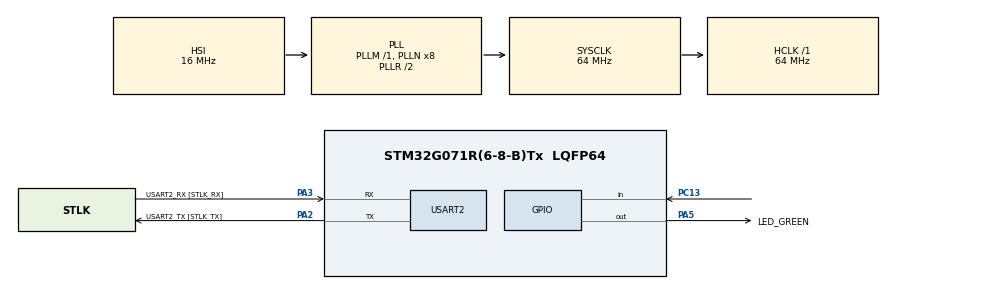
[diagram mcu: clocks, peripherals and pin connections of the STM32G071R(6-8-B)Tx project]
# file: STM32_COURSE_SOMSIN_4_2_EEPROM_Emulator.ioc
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Mcu.Family=STM32G0
Mcu.Name=STM32G071R(6-8-B)Tx
Mcu.Package=LQFP64
PA13.GPIO_Label=TMS
PA13.Mode=Serial_Wire
PA13.Signal=SYS_SWDIO
PA14-BOOT0.GPIO_Label=TCK
PA14-BOOT0.Mode=Serial_Wire
PA14-BOOT0.Signal=SYS_SWCLK
PA2.GPIO_Label=USART2_TX [STLK_TX]
PA2.GPIO_PuPd=GPIO_PULLUP
PA2.Mode=Asynchronous
PA2.Signal=USART2_TX
PA3.GPIO_Label=USART2_RX [STLK_RX]
PA3.GPIO_PuPd=GPIO_PULLUP
PA3.Mode=Asynchronous
PA3.Signal=USART2_RX
PA5.GPIO_Label=LED_GREEN
PA5.GPIO_Speed=GPIO_SPEED_FREQ_HIGH
PA5.Signal=GPIO_Output
PC13.Signal=GPIO_Input
PC14-OSC32_IN\ (PC14).Mode=LSE-External-Oscillator
PC14-OSC32_IN\ (PC14).Signal=RCC_OSC32_IN
PC15-OSC32_OUT\ (PC15).Mode=LSE-External-Oscillator
PC15-OSC32_OUT\ (PC15).Signal=RCC_OSC32_OUT
PF0-OSC_IN\ (PF0).GPIO_Label=MCO
PF0-OSC_IN\ (PF0).Mode=HSE-External-Clock-Source
PF0-OSC_IN\ (PF0).Signal=RCC_OSC_IN
ProjectManager.HeapSize=0x200
ProjectManager.StackSize=0x400
ProjectManager.TargetToolchain=STM32CubeIDE
RCC.ADCFreq_Value=64000000
RCC.AHBFreq_Value=64000000
RCC.CortexFreq_Value=64000000
RCC.EXTERNAL_CLOCK_VALUE=12288000
RCC.HCLKFreq_Value=64000000
RCC.HSE_VALUE=8000000
RCC.HSI_VALUE=16000000
RCC.SYSCLKFreq_VALUE=64000000
RCC.SYSCLKSource=RCC_SYSCLKSOURCE_PLLCLK
RCC.VCOOutputFreq_Value=128000000
USART2.VirtualMode-Asynchronous=VM_ASYNC
VP_CRC_VS_CRC.Mode=CRC_Activate
VP_SYS_VS_DBSignals.Mode=DisableDeadBatterySignals
board=NUCLEO-G071RB

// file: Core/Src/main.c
/* USER CODE BEGIN Header */
/**
  ******************************************************************************
  * @file           : main.c
  * @brief          : Main program body
  ******************************************************************************
  * @attention
  *
  * Copyright (c) 2024 STMicroelectronics.
  * All rights reserved.
  *
  * This software is licensed under terms that can be found in the LICENSE file
  * in the root directory of this software component.
  * If no LICENSE file comes with this software, it is provided AS-IS.
  *
  ******************************************************************************
  */
/* USER CODE END Header */
#include "main.h"

/* USER CODE BEGIN Includes */
#include "eeprom_emul.h"
/* USER CODE END Includes */

CRC_HandleTypeDef hcrc;

UART_HandleTypeDef huart2;

void SystemClock_Config(void);
static void MX_GPIO_Init(void);
static void MX_USART2_UART_Init(void);
static void MX_CRC_Init(void);

int main(void)
{

  /* MCU Configuration--------------------------------------------------------*/

  /* Reset of all peripherals, Initializes the Flash interface and the Systick. */
  HAL_Init();

  /* Configure the system clock */
  SystemClock_Config();

  /* Initialize all configured peripherals */
  MX_GPIO_Init();
  MX_USART2_UART_Init();
  MX_CRC_Init();
  /* USER CODE BEGIN 2 */

  HAL_FLASH_Unlock();
  /* EEPROM Init */
  HAL_Delay(2000);
  EE_Init(EE_FORCED_ERASE);

  unsigned char string_buffer[50];
  int string_buffer_size = -1;

  HAL_UART_Transmit(&huart2, (uint8_t *)"haruhi\r\n", 8, 1000);

  if(HAL_GPIO_ReadPin(GPIOC,GPIO_PIN_13) == 0){ // If User Button is Pressed the Write EEPROM
	  char write_word[20] = "hatsune miku\r\nr";
	  //char write_word[20] = "Asahina Mikuru\r\nr";
	  //char write_word[20] = "Nagato Yuki\r\nrr";
	  //char write_word[20] = "Itsuki Koizumi\r\n";
	  for(int i=0;i<15;i++){
		  EE_WriteVariable8bits(20 + i, write_word[i]);
	  }
  }

  /* USER CODE END 2 */

  /* Infinite loop */
  /* USER CODE BEGIN WHILE */
  while (1)
  {
	// read data from eeprom
	EE_ReadVariable8bits(20, &string_buffer[0]);
	EE_ReadVariable8bits(21, &string_buffer[1]);
	EE_ReadVariable8bits(22, &string_buffer[2]);
	EE_ReadVariable8bits(23, &string_buffer[3]);
	EE_ReadVariable8bits(24, &string_buffer[4]);
	EE_ReadVariable8bits(25, &string_buffer[5]);
	EE_ReadVariable8bits(26, &string_buffer[6]);

	//string_buffer_size = sprintf(string_buffer,"%s",string_buffer);
	string_buffer_size = sprintf(string_buffer,"%c%c%c%c%c%c%c%c\r\n",string_buffer[0],string_buffer[1],string_buffer[2],string_buffer[3],string_buffer[4],string_buffer[5],string_buffer[6]);
	HAL_UART_Transmit(&huart2, string_buffer, string_buffer_size, 1000);

	HAL_Delay (1000);
    /* USER CODE END WHILE */

  }
}

void SystemClock_Config(void)
{
  RCC_OscInitTypeDef RCC_OscInitStruct = {0};
  RCC_ClkInitTypeDef RCC_ClkInitStruct = {0};

  /** Configure the main internal regulator output voltage
  */
  HAL_PWREx_ControlVoltageScaling(PWR_REGULATOR_VOLTAGE_SCALE1);

  /** Initializes the RCC Oscillators according to the specified parameters
  * in the RCC_OscInitTypeDef structure.
  */
  RCC_OscInitStruct.OscillatorType = RCC_OSCILLATORTYPE_HSI;
  RCC_OscInitStruct.HSIState = RCC_HSI_ON;
  RCC_OscInitStruct.HSIDiv = RCC_HSI_DIV1;
  RCC_OscInitStruct.HSICalibrationValue = RCC_HSICALIBRATION_DEFAULT;
  RCC_OscInitStruct.PLL.PLLState = RCC_PLL_ON;
  RCC_OscInitStruct.PLL.PLLSource = RCC_PLLSOURCE_HSI;
  RCC_OscInitStruct.PLL.PLLM = RCC_PLLM_DIV1;
  RCC_OscInitStruct.PLL.PLLN = 8;
  RCC_OscInitStruct.PLL.PLLP = RCC_PLLP_DIV2;
  RCC_OscInitStruct.PLL.PLLQ = RCC_PLLQ_DIV2;
  RCC_OscInitStruct.PLL.PLLR = RCC_PLLR_DIV2;
  if (HAL_RCC_OscConfig(&RCC_OscInitStruct) != HAL_OK)
  {
    Error_Handler();
  }

  /** Initializes the CPU, AHB and APB buses clocks
  */
  RCC_ClkInitStruct.ClockType = RCC_CLOCKTYPE_HCLK|RCC_CLOCKTYPE_SYSCLK
                              |RCC_CLOCKTYPE_PCLK1;
  RCC_ClkInitStruct.SYSCLKSource = RCC_SYSCLKSOURCE_PLLCLK;
  RCC_ClkInitStruct.AHBCLKDivider = RCC_SYSCLK_DIV1;
  RCC_ClkInitStruct.APB1CLKDivider = RCC_HCLK_DIV1;

  if (HAL_RCC_ClockConfig(&RCC_ClkInitStruct, FLASH_LATENCY_2) != HAL_OK)
  {
    Error_Handler();
  }
}

static void MX_CRC_Init(void)
{

  hcrc.Instance = CRC;
  hcrc.Init.DefaultPolynomialUse = DEFAULT_POLYNOMIAL_ENABLE;
  hcrc.Init.DefaultInitValueUse = DEFAULT_INIT_VALUE_ENABLE;
  hcrc.Init.InputDataInversionMode = CRC_INPUTDATA_INVERSION_NONE;
  hcrc.Init.OutputDataInversionMode = CRC_OUTPUTDATA_INVERSION_DISABLE;
  hcrc.InputDataFormat = CRC_INPUTDATA_FORMAT_BYTES;
  if (HAL_CRC_Init(&hcrc) != HAL_OK)
  {
    Error_Handler();
  }

}

static void MX_USART2_UART_Init(void)
{

  huart2.Instance = USART2;
  huart2.Init.BaudRate = 115200;
  huart2.Init.WordLength = UART_WORDLENGTH_8B;
  huart2.Init.StopBits = UART_STOPBITS_1;
  huart2.Init.Parity = UART_PARITY_NONE;
  huart2.Init.Mode = UART_MODE_TX_RX;
  huart2.Init.HwFlowCtl = UART_HWCONTROL_NONE;
  huart2.Init.OverSampling = UART_OVERSAMPLING_16;
  huart2.Init.OneBitSampling = UART_ONE_BIT_SAMPLE_DISABLE;
  huart2.Init.ClockPrescaler = UART_PRESCALER_DIV1;
  huart2.AdvancedInit.AdvFeatureInit = UART_ADVFEATURE_NO_INIT;
  if (HAL_UART_Init(&huart2) != HAL_OK)
  {
    Error_Handler();
  }
  if (HAL_UARTEx_SetTxFifoThreshold(&huart2, UART_TXFIFO_THRESHOLD_1_8) != HAL_OK)
  {
    Error_Handler();
  }
  if (HAL_UARTEx_SetRxFifoThreshold(&huart2, UART_RXFIFO_THRESHOLD_1_8) != HAL_OK)
  {
    Error_Handler();
  }
  if (HAL_UARTEx_DisableFifoMode(&huart2) != HAL_OK)
  {
    Error_Handler();
  }

}

static void MX_GPIO_Init(void)
{
  GPIO_InitTypeDef GPIO_InitStruct = {0};

  /* GPIO Ports Clock Enable */
  __HAL_RCC_GPIOC_CLK_ENABLE();
  __HAL_RCC_GPIOF_CLK_ENABLE();
  __HAL_RCC_GPIOA_CLK_ENABLE();

  /*Configure GPIO pin Output Level */
  HAL_GPIO_WritePin(LED_GREEN_GPIO_Port, LED_GREEN_Pin, GPIO_PIN_RESET);

  /*Configure GPIO pin : PC13 */
  GPIO_InitStruct.Pin = GPIO_PIN_13;
  GPIO_InitStruct.Mode = GPIO_MODE_INPUT;
  GPIO_InitStruct.Pull = GPIO_NOPULL;
  HAL_GPIO_Init(GPIOC, &GPIO_InitStruct);

  /*Configure GPIO pin : LED_GREEN_Pin */
  GPIO_InitStruct.Pin = LED_GREEN_Pin;
  GPIO_InitStruct.Mode = GPIO_MODE_OUTPUT_PP;
  GPIO_InitStruct.Pull = GPIO_NOPULL;
  GPIO_InitStruct.Speed = GPIO_SPEED_FREQ_HIGH;
  HAL_GPIO_Init(LED_GREEN_GPIO_Port, &GPIO_InitStruct);

}

void Error_Handler(void)
{
  __disable_irq();
  while (1)
  {
  }
}
